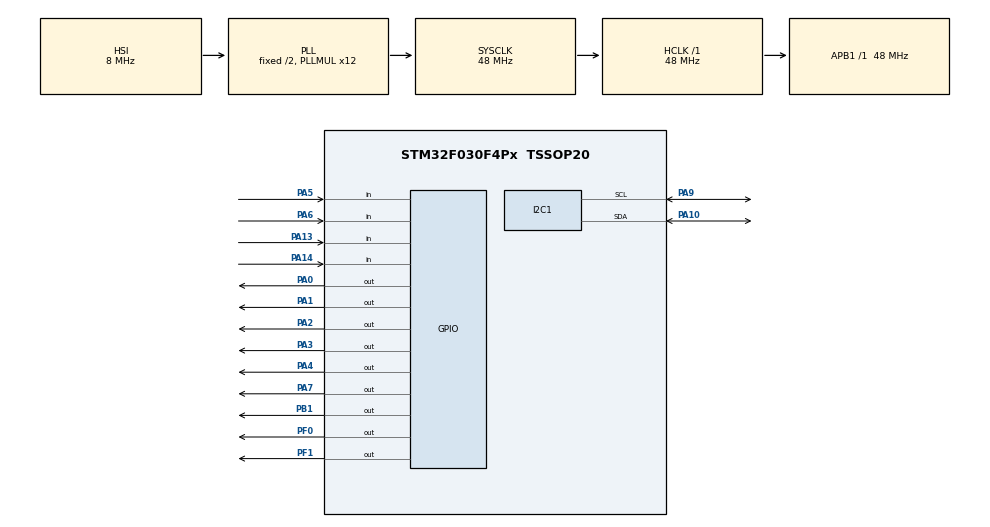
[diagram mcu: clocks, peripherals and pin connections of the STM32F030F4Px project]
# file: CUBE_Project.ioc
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Mcu.Family=STM32F0
Mcu.Name=STM32F030F4Px
Mcu.Package=TSSOP20
NVIC.TIM14_IRQn=true\:0\:0\:false\:false\:true\:true
PA0.GPIO_PuPd=GPIO_PULLDOWN
PA0.Signal=GPIO_Output
PA1.GPIO_PuPd=GPIO_PULLDOWN
PA1.Signal=GPIO_Output
PA10.Mode=I2C
PA10.Signal=I2C1_SDA
PA13.GPIO_PuPd=GPIO_PULLDOWN
PA13.Signal=GPIO_Input
PA14.GPIO_PuPd=GPIO_PULLDOWN
PA14.Signal=GPIO_Input
PA2.GPIO_PuPd=GPIO_PULLDOWN
PA2.Signal=GPIO_Output
PA3.GPIO_PuPd=GPIO_PULLDOWN
PA3.Signal=GPIO_Output
PA4.Signal=GPIO_Output
PA5.GPIO_PuPd=GPIO_PULLDOWN
PA5.Signal=GPIO_Input
PA6.GPIO_PuPd=GPIO_PULLDOWN
PA6.Signal=GPIO_Input
PA7.Signal=GPIO_Output
PA9.Mode=I2C
PA9.Signal=I2C1_SCL
PB1.Signal=GPIO_Output
PF0-OSC_IN.Signal=GPIO_Output
PF1-OSC_OUT.Signal=GPIO_Output
ProjectManager.HeapSize=0x200
ProjectManager.StackSize=0x400
ProjectManager.TargetToolchain=EWARM V8
RCC.AHBFreq_Value=48000000
RCC.APB1Freq_Value=48000000
RCC.APB1TimFreq_Value=48000000
RCC.HCLKFreq_Value=48000000
RCC.PLLMUL=RCC_PLL_MUL12
RCC.SYSCLKFreq_VALUE=48000000
RCC.SYSCLKSource=RCC_SYSCLKSOURCE_PLLCLK
RTC.Format=RTC_FORMAT_BIN
RTC.SynchPrediv=311
TIM14.Period=1000
TIM14.Prescaler=47999
VP_RTC_VS_RTC_Activate.Mode=RTC_Enabled
VP_RTC_VS_RTC_Calendar.Mode=RTC_Calendar
VP_TIM14_VS_ClockSourceINT.Mode=Enable_Timer
board=custom

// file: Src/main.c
/* USER CODE BEGIN Header */
/**
  ******************************************************************************
  * @file           : main.c
  * @brief          : Main program body
  ******************************************************************************
  ** This notice applies to any and all portions of this file
  * that are not between comment pairs USER CODE BEGIN and
  * USER CODE END. Other portions of this file, whether
  * inserted by the user or by software development tools
  * are owned by their respective copyright owners.
  *
  * COPYRIGHT(c) 2018 STMicroelectronics
  *
  * Redistribution and use in source and binary forms, with or without modification,
  * are permitted provided that the following conditions are met:
  *   1. Redistributions of source code must retain the above copyright notice,
  *      this list of conditions and the following disclaimer.
  *   2. Redistributions in binary form must reproduce the above copyright notice,
  *      this list of conditions and the following disclaimer in the documentation
  *      and/or other materials provided with the distribution.
  *   3. Neither the name of STMicroelectronics nor the names of its contributors
  *      may be used to endorse or promote products derived from this software
  *      without specific prior written permission.
  *
  * THIS SOFTWARE IS PROVIDED BY THE COPYRIGHT HOLDERS AND CONTRIBUTORS "AS IS"
  * AND ANY EXPRESS OR IMPLIED WARRANTIES, INCLUDING, BUT NOT LIMITED TO, THE
  * IMPLIED WARRANTIES OF MERCHANTABILITY AND FITNESS FOR A PARTICULAR PURPOSE ARE
  * DISCLAIMED. IN NO EVENT SHALL THE COPYRIGHT HOLDER OR CONTRIBUTORS BE LIABLE
  * FOR ANY DIRECT, INDIRECT, INCIDENTAL, SPECIAL, EXEMPLARY, OR CONSEQUENTIAL
  * DAMAGES (INCLUDING, BUT NOT LIMITED TO, PROCUREMENT OF SUBSTITUTE GOODS OR
  * SERVICES; LOSS OF USE, DATA, OR PROFITS; OR BUSINESS INTERRUPTION) HOWEVER
  * CAUSED AND ON ANY THEORY OF LIABILITY, WHETHER IN CONTRACT, STRICT LIABILITY,
  * OR TORT (INCLUDING NEGLIGENCE OR OTHERWISE) ARISING IN ANY WAY OUT OF THE USE
  * OF THIS SOFTWARE, EVEN IF ADVISED OF THE POSSIBILITY OF SUCH DAMAGE.
  *
  ******************************************************************************
  */
/* USER CODE END Header */

#include "main.h"

/* USER CODE BEGIN Includes */
#include <string.h>
#include <stdbool.h>
#include "i2c-lcd.h"
#include "var.h"

/* USER CODE END Includes */

/* USER CODE BEGIN PD */
#define LCD_CLEAR  lcd_send_cmd(0x01);
#define LCD_LINE_2 lcd_send_cmd (0xc0);
////////////////////////////////////////////////////////////////////////
#define GRA_LOW HAL_GPIO_WritePin(GPIOA, GPIO_PIN_0, GPIO_PIN_RESET);//group A
#define GRB_LOW HAL_GPIO_WritePin(GPIOA, GPIO_PIN_1, GPIO_PIN_RESET);
#define GRC_LOW HAL_GPIO_WritePin(GPIOA, GPIO_PIN_2, GPIO_PIN_RESET);
#define GRD_LOW HAL_GPIO_WritePin(GPIOA, GPIO_PIN_3, GPIO_PIN_RESET);
//
#define GRA_HIGH HAL_GPIO_WritePin(GPIOA, GPIO_PIN_0, GPIO_PIN_SET);
#define GRB_HIGH HAL_GPIO_WritePin(GPIOA, GPIO_PIN_1, GPIO_PIN_SET);
#define GRC_HIGH HAL_GPIO_WritePin(GPIOA, GPIO_PIN_2, GPIO_PIN_SET);
#define GRD_HIGH HAL_GPIO_WritePin(GPIOA, GPIO_PIN_3, GPIO_PIN_SET);
//
#define GRA_TOGGLE HAL_GPIO_TogglePin(GPIOA, GPIO_PIN_0);
#define GRB_TOGGLE HAL_GPIO_TogglePin(GPIOA, GPIO_PIN_1);
#define GRC_TOGGLE HAL_GPIO_TogglePin(GPIOA, GPIO_PIN_2);
#define GRD_TOGGLE HAL_GPIO_TogglePin(GPIOA, GPIO_PIN_3);
//
#define GR1 HAL_GPIO_ReadPin(GPIOA, GPIO_PIN_5);//group 1
#define GR2 HAL_GPIO_ReadPin(GPIOA, GPIO_PIN_6);
#define GR3 HAL_GPIO_ReadPin(GPIOA, GPIO_PIN_13);
#define GR4 HAL_GPIO_ReadPin(GPIOA, GPIO_PIN_14);
////////////////////////////////////////////////////////////////////////
#define R1_HIGH HAL_GPIO_WritePin(GPIOF, GPIO_PIN_0, GPIO_PIN_SET);
#define R2_HIGH HAL_GPIO_WritePin(GPIOF, GPIO_PIN_1, GPIO_PIN_SET);
#define R3_HIGH HAL_GPIO_WritePin(GPIOA, GPIO_PIN_7, GPIO_PIN_SET);
#define R4_HIGH HAL_GPIO_WritePin(GPIOB, GPIO_PIN_1, GPIO_PIN_SET);
//
#define R1_LOW HAL_GPIO_WritePin(GPIOF, GPIO_PIN_0, GPIO_PIN_RESET);
#define R2_LOW HAL_GPIO_WritePin(GPIOF, GPIO_PIN_1, GPIO_PIN_RESET);
#define R3_LOW HAL_GPIO_WritePin(GPIOA, GPIO_PIN_7, GPIO_PIN_RESET);
#define R4_LOW HAL_GPIO_WritePin(GPIOB, GPIO_PIN_1, GPIO_PIN_RESET);
//
#define R1_TOGGLE HAL_GPIO_TogglePin(GPIOF, GPIO_PIN_0);
#define R2_TOGGLE HAL_GPIO_TogglePin(GPIOF, GPIO_PIN_1);
#define R3_TOGGLE HAL_GPIO_TogglePin(GPIOA, GPIO_PIN_7);
#define R4_TOGGLE HAL_GPIO_TogglePin(GPIOB, GPIO_PIN_1);
////////////////////////////////////////////////////////////////////////

//======================================//
/* USER CODE END PD */

I2C_HandleTypeDef hi2c1;

RTC_HandleTypeDef hrtc;

TIM_HandleTypeDef htim14;

/* USER CODE BEGIN PV */
  int in=0;
  int out=0;
    RTC_TimeTypeDef sTime = {0};
    RTC_DateTypeDef sDate = {0};
int _tim14=0;
int _tim14_1=0;
int hours=0;int minutes=0;int seconds=0;
bool check_clock=0;
int releys_data[4][5];//releys settings. [00]:[00]-[00]:[00]|[0]<-mode
//char menu_string[9][16];//max symbols 16
  struct string{
    char string[20];
  };
/* USER CODE END PV */

void SystemClock_Config(void);
static void MX_GPIO_Init(void);
static void MX_I2C1_Init(void);
static void MX_TIM14_Init(void);
static void MX_RTC_Init(void);

/* USER CODE BEGIN 0 */

   int gr_out=0;//group out
   int gr_in=0;
char matrix_keypad(){
  //gr_out=0; gr_in=0;

  for(int i=0;i<4;i++){
    switch(i){
    case 0:
      GRA_HIGH;
      gr_out=i+1;
      break;
    case 1:
      GRB_HIGH;
      gr_out=i+1;
      break;
    case 2:
      GRC_HIGH;
      gr_out=i+1;
      break;
    case 3:
      GRD_HIGH;
      gr_out=i+1;
      break;
    default:
      //gr_out=0;
      break;
    }

    //
    if(HAL_GPIO_ReadPin(GPIOA, GPIO_PIN_5)==1){
      gr_in=1;
      break;
    }
    else if(HAL_GPIO_ReadPin(GPIOA, GPIO_PIN_6)==1){
      gr_in=2;
      break;
    }
    else if(HAL_GPIO_ReadPin(GPIOA, GPIO_PIN_13)==1){
      gr_in=3;
      break;
    }
    else if(HAL_GPIO_ReadPin(GPIOA, GPIO_PIN_14)==1){
      gr_in=4;
      break;
    }
    //
    GRA_LOW; GRB_LOW; GRC_LOW; GRD_LOW;
    //gr_out=0; gr_in=0;
  }
  GRA_LOW; GRB_LOW; GRC_LOW; GRD_LOW;
  //

  if(gr_out==1&&gr_in==1)return '1';
  else if(gr_out==1&&gr_in==2)return '2';
  else if(gr_out==1&&gr_in==3)return '3';
  else if(gr_out==1&&gr_in==4)return 'A';
  //
  else if(gr_out==2&&gr_in==1)return '4';
  else if(gr_out==2&&gr_in==2)return '5';
  else if(gr_out==2&&gr_in==3)return '6';
  else if(gr_out==2&&gr_in==4)return 'B';
  //
  else if(gr_out==3&&gr_in==1)return '7';
  else if(gr_out==3&&gr_in==2)return '8';
  else if(gr_out==3&&gr_in==3)return '9';
  else if(gr_out==3&&gr_in==4)return 'C';
  //
  else if(gr_out==4&&gr_in==1)return '*';
  else if(gr_out==4&&gr_in==2)return '0';
  else if(gr_out==4&&gr_in==3)return '#';
  else if(gr_out==4&&gr_in==4)return 'D';

  gr_out=0; gr_in=0;

  //
 return 0;
}
//MENU//
void menu(struct string *menu_string, int size){
  int counter=0;
  int menu_coord_x=0;
  int menu_coord_y=0;
  bool while_active=1;
  //

  LCD_CLEAR;
  //lcd_send_cmd(0x02);
  lcd_send_string(menu_string[0].string);
  while (while_active==1){

    //while(matrix_keypad()==0);

    if(matrix_keypad()!=0){
     if(matrix_keypad()=='A'){
        counter--;
        if(counter<0)counter=size;
        LCD_CLEAR;
        lcd_send_string(menu_string[counter].string);
        HAL_Delay(400);
      }
      else if(matrix_keypad()=='B'){
        counter++;
        if(counter>size)counter=0;
        LCD_CLEAR;
        lcd_send_string(menu_string[counter].string);
        HAL_Delay(400);
      }
      else if(matrix_keypad()=='C'){
        while_active=0;
      }
      else if(matrix_keypad()=='D'){

      }
    }
  }
}

//RELE//
struct string str_1[10];
void rele_settings(struct string *str_,int size){
 // str_[0].string = "";

  lcd_send_string(str_[0].string);

  if(matrix_keypad()!=0){

  }

}

void rele_check(){

}

/* USER CODE END 0 */

int main(void)
{

  /* MCU Configuration--------------------------------------------------------*/

  /* Reset of all peripherals, Initializes the Flash interface and the Systick. */
  HAL_Init();

  /* Configure the system clock */
  SystemClock_Config();

  /* Initialize all configured peripherals */
  MX_GPIO_Init();
  MX_I2C1_Init();
  MX_TIM14_Init();
  MX_RTC_Init();
  /* USER CODE BEGIN 2 */
  GRA_LOW; GRB_LOW; GRC_LOW; GRD_LOW;
 // HAL_TIM_Base_Start(&htim3);
 // HAL_TIM_Base_Start_IT(&htim3);
  //=========================================//
  for(int i=0;i<4;i++){
    for(int o=0;o<5;o++){
      releys_data[i][o]=0;
    }
  }
  //menus create//
  struct string str[2]={{"hello"},{"world"}};
  struct string main_menu[10]={
    {"   releys settings"},
    {"   time set"},
    {"   menu 3"},
    {"   menu 4"},
    {"   menu 5"},
    {"   menu 6"},
    {"   menu 7"},
    {"   menu 8"},
    {"   menu 9"},
    {"   menu 10"}

  };
  //end menus create//

  /* USER CODE END 2 */

  /* Infinite loop */
  /* USER CODE BEGIN WHILE */
  //char str[]="++++";
  //////////////////////
  //init matrix keypad//
  //////////////////////

  //////////////////////
  //struct string str={"hello world"};
  HAL_TIM_Base_Start(&htim14);
  HAL_TIM_Base_Start_IT(&htim14);

  char buff_char[5];
  char buff_char_1=0;
  char *_buff_char_1 = &buff_char_1;
  //struct string str={"hello world"};
  //HAL_Delay(1);

  lcd_init();
//  lcd_send_cmd(0xC0);

  lcd_send_string(str[0].string);
  HAL_Delay(500);
  LCD_CLEAR;
  HAL_Delay(50);
  lcd_send_string(str[1].string);
  HAL_Delay(500);
  LCD_CLEAR;

 // lcd_send_string("   main menu");
  //HAL_Delay(500);
  //menu(main_menu, 9);
  //lcd_send_cmd(0x08);
  //lcd_send_cmd(0x00);

  while (1)
  {
    if((matrix_keypad())>0){
      buff_char_1 = matrix_keypad();
      //lcd_send_string(_buff_char_1);
      ///////
      //KEY//
      ///////
      if(buff_char_1=='*'){
        lcd_send_string("=====");
        HAL_Delay(500);
        LCD_CLEAR;

      }
      //
      else if(buff_char_1=='A'){
        LCD_CLEAR;
        lcd_send_string("   enter_menu");
        HAL_Delay(500);
        menu(main_menu, 9);
      }
      //
      else if(buff_char_1=='B'){
        LCD_CLEAR;
        lcd_send_string("   enter_menu");
        HAL_Delay(500);
        menu(main_menu, 9);
      }
      //
      else if(buff_char_1=='#'){

        /*
        HAL_RTC_GetTime(&hrtc, &sTime, RTC_FORMAT_BIN);
        HAL_RTC_GetDate(&hrtc, &sDate, RTC_FORMAT_BIN);

        hours = sTime.Hours;
        minutes = sTime.Minutes;
        seconds = sTime.Seconds;
        */
        LCD_LINE_2;
        sprintf(buff_char, "%d", hours);
        lcd_send_string(buff_char);
        lcd_send_string(":");
        sprintf(buff_char, "%d", minutes);
        lcd_send_string(buff_char);
        lcd_send_string(":");
        sprintf(buff_char, "%d", seconds);
        lcd_send_string(buff_char);
        lcd_send_string("|");
        sprintf(buff_char, "%d", _tim14);
        lcd_send_string(buff_char);
        lcd_send_string("|");
      }
      ///////////
      //end KEY//
      ///////////
      gr_out=0; gr_in=0;
      //HAL_Delay(500);
      LCD_CLEAR;
    }
    HAL_Delay(100);

      //gr_out=0; gr_in=0;
    /* USER CODE END WHILE */

  }
}

void SystemClock_Config(void)
{
  RCC_OscInitTypeDef RCC_OscInitStruct = {0};
  RCC_ClkInitTypeDef RCC_ClkInitStruct = {0};
  RCC_PeriphCLKInitTypeDef PeriphClkInit = {0};

  /**Initializes the CPU, AHB and APB busses clocks
  */
  RCC_OscInitStruct.OscillatorType = RCC_OSCILLATORTYPE_HSI|RCC_OSCILLATORTYPE_LSI;
  RCC_OscInitStruct.HSIState = RCC_HSI_ON;
  RCC_OscInitStruct.HSICalibrationValue = RCC_HSICALIBRATION_DEFAULT;
  RCC_OscInitStruct.LSIState = RCC_LSI_ON;
  RCC_OscInitStruct.PLL.PLLState = RCC_PLL_ON;
  RCC_OscInitStruct.PLL.PLLSource = RCC_PLLSOURCE_HSI;
  RCC_OscInitStruct.PLL.PLLMUL = RCC_PLL_MUL12;
  RCC_OscInitStruct.PLL.PREDIV = RCC_PREDIV_DIV1;
  if (HAL_RCC_OscConfig(&RCC_OscInitStruct) != HAL_OK)
  {
    Error_Handler();
  }
  /**Initializes the CPU, AHB and APB busses clocks
  */
  RCC_ClkInitStruct.ClockType = RCC_CLOCKTYPE_HCLK|RCC_CLOCKTYPE_SYSCLK
                              |RCC_CLOCKTYPE_PCLK1;
  RCC_ClkInitStruct.SYSCLKSource = RCC_SYSCLKSOURCE_PLLCLK;
  RCC_ClkInitStruct.AHBCLKDivider = RCC_SYSCLK_DIV1;
  RCC_ClkInitStruct.APB1CLKDivider = RCC_HCLK_DIV1;

  if (HAL_RCC_ClockConfig(&RCC_ClkInitStruct, FLASH_LATENCY_1) != HAL_OK)
  {
    Error_Handler();
  }
  PeriphClkInit.PeriphClockSelection = RCC_PERIPHCLK_I2C1|RCC_PERIPHCLK_RTC;
  PeriphClkInit.I2c1ClockSelection = RCC_I2C1CLKSOURCE_HSI;
  PeriphClkInit.RTCClockSelection = RCC_RTCCLKSOURCE_LSI;
  if (HAL_RCCEx_PeriphCLKConfig(&PeriphClkInit) != HAL_OK)
  {
    Error_Handler();
  }
}

static void MX_I2C1_Init(void)
{

  hi2c1.Instance = I2C1;
  hi2c1.Init.Timing = 0x2000090E;
  hi2c1.Init.OwnAddress1 = 0;
  hi2c1.Init.AddressingMode = I2C_ADDRESSINGMODE_7BIT;
  hi2c1.Init.DualAddressMode = I2C_DUALADDRESS_DISABLE;
  hi2c1.Init.OwnAddress2 = 0;
  hi2c1.Init.OwnAddress2Masks = I2C_OA2_NOMASK;
  hi2c1.Init.GeneralCallMode = I2C_GENERALCALL_DISABLE;
  hi2c1.Init.NoStretchMode = I2C_NOSTRETCH_DISABLE;
  if (HAL_I2C_Init(&hi2c1) != HAL_OK)
  {
    Error_Handler();
  }
  /**Configure Analogue filter
  */
  if (HAL_I2CEx_ConfigAnalogFilter(&hi2c1, I2C_ANALOGFILTER_ENABLE) != HAL_OK)
  {
    Error_Handler();
  }
  /**Configure Digital filter
  */
  if (HAL_I2CEx_ConfigDigitalFilter(&hi2c1, 0) != HAL_OK)
  {
    Error_Handler();
  }

}

static void MX_RTC_Init(void)
{

  RTC_TimeTypeDef sTime = {0};
  RTC_DateTypeDef sDate = {0};

  /**Initialize RTC Only
  */
  hrtc.Instance = RTC;
  hrtc.Init.HourFormat = RTC_HOURFORMAT_24;
  hrtc.Init.AsynchPrediv = 127;
  hrtc.Init.SynchPrediv = 311;
  hrtc.Init.OutPut = RTC_OUTPUT_DISABLE;
  hrtc.Init.OutPutPolarity = RTC_OUTPUT_POLARITY_HIGH;
  hrtc.Init.OutPutType = RTC_OUTPUT_TYPE_OPENDRAIN;
  if (HAL_RTC_Init(&hrtc) != HAL_OK)
  {
    Error_Handler();
  }

  /**Initialize RTC and set the Time and Date
  */
  sTime.Hours = 0;
  sTime.Minutes = 0;
  sTime.Seconds = 0;
  sTime.DayLightSaving = RTC_DAYLIGHTSAVING_NONE;
  sTime.StoreOperation = RTC_STOREOPERATION_RESET;
  if (HAL_RTC_SetTime(&hrtc, &sTime, RTC_FORMAT_BIN) != HAL_OK)
  {
    Error_Handler();
  }
  sDate.WeekDay = RTC_WEEKDAY_MONDAY;
  sDate.Month = RTC_MONTH_JANUARY;
  sDate.Date = 1;
  sDate.Year = 0;

  if (HAL_RTC_SetDate(&hrtc, &sDate, RTC_FORMAT_BIN) != HAL_OK)
  {
    Error_Handler();
  }

}

static void MX_TIM14_Init(void)
{

  htim14.Instance = TIM14;
  htim14.Init.Prescaler = 47999;
  htim14.Init.CounterMode = TIM_COUNTERMODE_UP;
  htim14.Init.Period = 1000;
  htim14.Init.ClockDivision = TIM_CLOCKDIVISION_DIV1;
  htim14.Init.AutoReloadPreload = TIM_AUTORELOAD_PRELOAD_DISABLE;
  if (HAL_TIM_Base_Init(&htim14) != HAL_OK)
  {
    Error_Handler();
  }

}

static void MX_GPIO_Init(void)
{
  GPIO_InitTypeDef GPIO_InitStruct = {0};

  /* GPIO Ports Clock Enable */
  __HAL_RCC_GPIOF_CLK_ENABLE();
  __HAL_RCC_GPIOA_CLK_ENABLE();
  __HAL_RCC_GPIOB_CLK_ENABLE();

  /*Configure GPIO pin Output Level */
  HAL_GPIO_WritePin(GPIOF, GPIO_PIN_0|GPIO_PIN_1, GPIO_PIN_RESET);

  /*Configure GPIO pin Output Level */
  HAL_GPIO_WritePin(GPIOA, GPIO_PIN_0|GPIO_PIN_1|GPIO_PIN_2|GPIO_PIN_3
                          |GPIO_PIN_4|GPIO_PIN_7, GPIO_PIN_RESET);

  /*Configure GPIO pin Output Level */
  HAL_GPIO_WritePin(GPIOB, GPIO_PIN_1, GPIO_PIN_RESET);

  /*Configure GPIO pins : PF0 PF1 */
  GPIO_InitStruct.Pin = GPIO_PIN_0|GPIO_PIN_1;
  GPIO_InitStruct.Mode = GPIO_MODE_OUTPUT_PP;
  GPIO_InitStruct.Pull = GPIO_NOPULL;
  GPIO_InitStruct.Speed = GPIO_SPEED_FREQ_LOW;
  HAL_GPIO_Init(GPIOF, &GPIO_InitStruct);

  /*Configure GPIO pins : PA0 PA1 PA2 PA3 */
  GPIO_InitStruct.Pin = GPIO_PIN_0|GPIO_PIN_1|GPIO_PIN_2|GPIO_PIN_3;
  GPIO_InitStruct.Mode = GPIO_MODE_OUTPUT_PP;
  GPIO_InitStruct.Pull = GPIO_PULLDOWN;
  GPIO_InitStruct.Speed = GPIO_SPEED_FREQ_LOW;
  HAL_GPIO_Init(GPIOA, &GPIO_InitStruct);

  /*Configure GPIO pins : PA4 PA7 */
  GPIO_InitStruct.Pin = GPIO_PIN_4|GPIO_PIN_7;
  GPIO_InitStruct.Mode = GPIO_MODE_OUTPUT_PP;
  GPIO_InitStruct.Pull = GPIO_NOPULL;
  GPIO_InitStruct.Speed = GPIO_SPEED_FREQ_LOW;
  HAL_GPIO_Init(GPIOA, &GPIO_InitStruct);

  /*Configure GPIO pins : PA5 PA6 PA13 PA14 */
  GPIO_InitStruct.Pin = GPIO_PIN_5|GPIO_PIN_6|GPIO_PIN_13|GPIO_PIN_14;
  GPIO_InitStruct.Mode = GPIO_MODE_INPUT;
  GPIO_InitStruct.Pull = GPIO_PULLDOWN;
  HAL_GPIO_Init(GPIOA, &GPIO_InitStruct);

  /*Configure GPIO pin : PB1 */
  GPIO_InitStruct.Pin = GPIO_PIN_1;
  GPIO_InitStruct.Mode = GPIO_MODE_OUTPUT_PP;
  GPIO_InitStruct.Pull = GPIO_NOPULL;
  GPIO_InitStruct.Speed = GPIO_SPEED_FREQ_LOW;
  HAL_GPIO_Init(GPIOB, &GPIO_InitStruct);

}

void Error_Handler(void)
{
}

/************************ (C) COPYRIGHT STMicroelectronics *****END OF FILE****/
